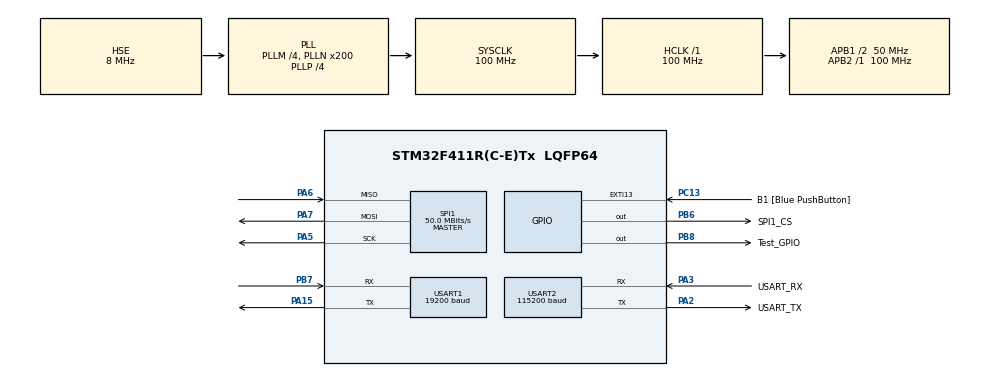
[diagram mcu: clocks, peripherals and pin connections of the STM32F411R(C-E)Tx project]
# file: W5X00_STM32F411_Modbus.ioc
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Dma.Request0=SPI1_TX
Dma.Request1=SPI1_RX
Dma.SPI1_RX.1.Direction=DMA_PERIPH_TO_MEMORY
Dma.SPI1_RX.1.FIFOMode=DMA_FIFOMODE_DISABLE
Dma.SPI1_RX.1.Instance=DMA2_Stream0
Dma.SPI1_RX.1.MemDataAlignment=DMA_MDATAALIGN_BYTE
Dma.SPI1_RX.1.MemInc=DMA_MINC_ENABLE
Dma.SPI1_RX.1.Mode=DMA_NORMAL
Dma.SPI1_RX.1.PeriphDataAlignment=DMA_PDATAALIGN_BYTE
Dma.SPI1_RX.1.PeriphInc=DMA_PINC_DISABLE
Dma.SPI1_RX.1.Priority=DMA_PRIORITY_HIGH
Dma.SPI1_TX.0.Direction=DMA_MEMORY_TO_PERIPH
Dma.SPI1_TX.0.FIFOMode=DMA_FIFOMODE_DISABLE
Dma.SPI1_TX.0.Instance=DMA2_Stream2
Dma.SPI1_TX.0.MemDataAlignment=DMA_MDATAALIGN_BYTE
Dma.SPI1_TX.0.MemInc=DMA_MINC_ENABLE
Dma.SPI1_TX.0.Mode=DMA_NORMAL
Dma.SPI1_TX.0.PeriphDataAlignment=DMA_PDATAALIGN_BYTE
Dma.SPI1_TX.0.PeriphInc=DMA_PINC_DISABLE
Dma.SPI1_TX.0.Priority=DMA_PRIORITY_HIGH
Mcu.Family=STM32F4
Mcu.Name=STM32F411R(C-E)Tx
Mcu.Package=LQFP64
NVIC.DMA2_Stream0_IRQn=true\:0\:0\:false\:false\:true\:false\:true\:true
NVIC.DMA2_Stream2_IRQn=true\:0\:0\:false\:false\:true\:false\:true\:true
NVIC.PriorityGroup=NVIC_PRIORITYGROUP_0
NVIC.SPI1_IRQn=true\:0\:0\:true\:false\:true\:true\:true\:true
NVIC.TIM3_IRQn=true\:0\:0\:false\:false\:true\:true\:true\:true
NVIC.USART1_IRQn=true\:0\:0\:false\:false\:true\:true\:true\:true
PA13.GPIO_Label=TMS
PA13.Mode=Serial_Wire
PA13.Signal=SYS_JTMS-SWDIO
PA14.GPIO_Label=TCK
PA14.Mode=Serial_Wire
PA14.Signal=SYS_JTCK-SWCLK
PA15.Mode=Asynchronous
PA15.Signal=USART1_TX
PA2.GPIO_Label=USART_TX
PA2.Mode=Asynchronous
PA2.Signal=USART2_TX
PA3.GPIO_Label=USART_RX
PA3.Mode=Asynchronous
PA3.Signal=USART2_RX
PA5.Mode=Full_Duplex_Master
PA5.Signal=SPI1_SCK
PA6.Mode=Full_Duplex_Master
PA6.Signal=SPI1_MISO
PA7.Mode=Full_Duplex_Master
PA7.Signal=SPI1_MOSI
PB3.GPIO_Label=SWO
PB3.Signal=SYS_JTDO-SWO
PB6.GPIO_Label=SPI1_CS
PB6.Signal=GPIO_Output
PB7.Mode=Asynchronous
PB7.Signal=USART1_RX
PB8.GPIO_Label=Test_GPIO
PB8.Signal=GPIO_Output
PC13-ANTI_TAMP.GPIO_Label=B1 [Blue PushButton]
PC13-ANTI_TAMP.GPIO_ModeDefaultEXTI=GPIO_MODE_IT_FALLING
PC13-ANTI_TAMP.Signal=GPXTI13
PC14-OSC32_IN.Mode=LSE-External-Oscillator
PC14-OSC32_IN.Signal=RCC_OSC32_IN
PC15-OSC32_OUT.Mode=LSE-External-Oscillator
PC15-OSC32_OUT.Signal=RCC_OSC32_OUT
PH0\ -\ OSC_IN.Mode=HSE-External-Clock-Source
PH0\ -\ OSC_IN.Signal=RCC_OSC_IN
PH1\ -\ OSC_OUT.Mode=HSE-External-Clock-Source
PH1\ -\ OSC_OUT.Signal=RCC_OSC_OUT
ProjectManager.HeapSize=0x200
ProjectManager.StackSize=0x400
ProjectManager.TargetToolchain=MDK-ARM V5.32
RCC.48MHZClocksFreq_Value=100000000
RCC.AHBFreq_Value=100000000
RCC.APB1CLKDivider=RCC_HCLK_DIV2
RCC.APB1Freq_Value=50000000
RCC.APB1TimFreq_Value=100000000
RCC.APB2Freq_Value=100000000
RCC.APB2TimFreq_Value=100000000
RCC.CortexFreq_Value=100000000
RCC.FLatency-AdvancedSettings=FLASH_LATENCY_3
RCC.HCLKFreq_Value=100000000
RCC.HSE_VALUE=8000000
RCC.HSI_VALUE=16000000
RCC.PLLM=4
RCC.PLLN=200
RCC.PLLP=RCC_PLLP_DIV4
RCC.PLLSourceVirtual=RCC_PLLSOURCE_HSE
RCC.SYSCLKFreq_VALUE=100000000
RCC.SYSCLKSource=RCC_SYSCLKSOURCE_PLLCLK
RCC.VCOOutputFreq_Value=400000000
SPI1.BaudRatePrescaler=SPI_BAUDRATEPRESCALER_2
SPI1.CLKPhase=SPI_PHASE_1EDGE
SPI1.CLKPolarity=SPI_POLARITY_LOW
SPI1.CalculateBaudRate=50.0 MBits/s
SPI1.Direction=SPI_DIRECTION_2LINES
SPI1.Mode=SPI_MODE_MASTER
SPI1.VirtualType=VM_MASTER
TIM3.AutoReloadPreload=TIM_AUTORELOAD_PRELOAD_DISABLE
TIM3.Period=49
TIM3.Prescaler=99
USART1.BaudRate=19200
USART1.VirtualMode=VM_ASYNC
USART2.BaudRate=115200
USART2.VirtualMode=VM_ASYNC
VP_TIM3_VS_ClockSourceINT.Mode=Internal
board=NUCLEO-F411RE

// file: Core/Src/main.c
/* USER CODE BEGIN Header */
/**
  ******************************************************************************
  * @file           : main.c
  * @brief          : Main program body
  ******************************************************************************
  * @attention
  *
  * Copyright (c) 2023 STMicroelectronics.
  * All rights reserved.
  *
  * This software is licensed under terms that can be found in the LICENSE file
  * in the root directory of this software component.
  * If no LICENSE file comes with this software, it is provided AS-IS.
  *
  ******************************************************************************
  */
/* USER CODE END Header */
#include "main.h"

/* USER CODE BEGIN Includes */
#include <stdio.h>
#include <stdarg.h>
#include "wizchip_conf.h"
#include "w5x00_spi.h"
#include "socket.h"
#include "port_common.h"

#include "mb.h"
#include "mbrtu.h"
#include "mbascii.h"
/* USER CODE END Includes */

/* USER CODE BEGIN PD */
#define PUTCHAR_PROTOTYPE int fputc(int ch, FILE *f)

#define SOCKET_MODBUS 0
#define PORT_MODBUS 5000
#define ETHERNET_BUF_MAX_SIZE (1024 * 2)
/* USER CODE END PD */

SPI_HandleTypeDef hspi1;
DMA_HandleTypeDef hdma_spi1_tx;
DMA_HandleTypeDef hdma_spi1_rx;

TIM_HandleTypeDef htim3;

UART_HandleTypeDef huart1;
UART_HandleTypeDef huart2;

/* USER CODE BEGIN PV */
static wiz_NetInfo g_net_info =
{
    .mac = {0x00, 0x08, 0xDC, 0x12, 0x34, 0x56}, // MAC address
    .ip = {192, 168, 2, 102},                     // IP address
    .sn = {255, 255, 255, 0},                    // Subnet Mask
    .gw = {192, 168, 2, 1},                     // Gateway
    .dns = {8, 8, 8, 8},                         // DNS server
    .dhcp = NETINFO_STATIC                       // DHCP enable/disable
};

static uint8_t g_loopback_buf[ETHERNET_BUF_MAX_SIZE] = {
    0,
};

uint8_t uartRxByte;
extern volatile uint8_t mb_state_rtu_finish;

/* USER CODE END PV */

void SystemClock_Config(void);
static void MX_GPIO_Init(void);
static void MX_DMA_Init(void);
static void MX_SPI1_Init(void);
static void MX_USART2_UART_Init(void);
static void MX_TIM3_Init(void);
static void MX_USART1_UART_Init(void);

int main(void)
{
  /* USER CODE BEGIN 1 */
  int retval = 0;
  uint16_t reg_val;
  uint8_t test_data;
  uint8_t state;
  uint8_t destip[4];
  uint16_t destport;
  /* USER CODE END 1 */

  /* MCU Configuration--------------------------------------------------------*/

  /* Reset of all peripherals, Initializes the Flash interface and the Systick. */
  HAL_Init();

  /* Configure the system clock */
  SystemClock_Config();

  /* Initialize all configured peripherals */
  MX_GPIO_Init();
  MX_DMA_Init();
  MX_SPI1_Init();
  MX_USART2_UART_Init();
  MX_TIM3_Init();
  MX_USART1_UART_Init();
  /* USER CODE BEGIN 2 */
  HAL_Delay(500);
  printf("Modbus Test\r\n");

	wizchip_spi_initialize();
	//wizchip_cris_initialize();
	wizchip_reset();
	wizchip_initialize();
	wizchip_check();

  network_initialize(g_net_info);
  print_network_information(g_net_info);

  eMBRTUInit(huart1.Init.BaudRate);
  HAL_UART_Receive_IT(&huart1, &uartRxByte, 1);

  /* USER CODE END 2 */

  /* Infinite loop */
  while (1)
  {

    /* USER CODE BEGIN 3 */
    state = getSn_SR(SOCKET_MODBUS);
    switch(state)
    {
        case SOCK_INIT:
            listen(SOCKET_MODBUS);
            break;

        case SOCK_LISTEN:
            break;

        case SOCK_ESTABLISHED:
            if(getSn_IR(SOCKET_MODBUS) & Sn_IR_CON)
            {
                reg_val = SIK_CONNECTED & 0x00FF;
                ctlsocket(SOCKET_MODBUS, CS_CLR_INTERRUPT, (void *)&reg_val);
                getsockopt(SOCKET_MODBUS, SO_DESTIP, &destip);
                getsockopt(SOCKET_MODBUS, SO_DESTPORT, &destport);
                printf("CONNECTED FROM - %d.%d.%d.%d : %d\r\n",destip[0], destip[1], destip[2], destip[3], destport);
            }

#if (MODBUS_PROTOCOL == MODBUS_RTU)

            RTU_Uart_RX();
            if(mb_state_rtu_finish == TRUE){
                mb_state_rtu_finish = FALSE;
                mbRTUtoTCP(SOCKET_MODBUS);
            }
            if(getSn_RX_RSR(SOCKET_MODBUS))
                mbTCPtoRTU(SOCKET_MODBUS);
#else
            ASCII_Uart_RX();
            if(mb_state_ascii_finish == TRUE) {
                mb_state_ascii_finish = FALSE;
                mbASCIItoTCP(SOCKET_MODBUS);
            }
            if(getSn_RX_RSR(SOCKET_MODBUS))
                mbTCPtoASCII(SOCKET_MODBUS);
#endif
            break;

        case SOCK_CLOSE_WAIT:
            disconnect(SOCKET_MODBUS);
            break;

        case SOCK_FIN_WAIT:
        case SOCK_CLOSED:
            close(SOCKET_MODBUS);
            if(socket(SOCKET_MODBUS, Sn_MR_TCP, PORT_MODBUS, (SF_TCP_NODELAY | SF_IO_NONBLOCK)) == SOCKET_MODBUS)
            {
                // TCP Server listen
                listen(SOCKET_MODBUS);
                printf("TCP_SERVER_MODE:SOCKOPEN\r\n");
            }
            break;

        default:
            break;
    }
  }
  /* USER CODE END 3 */
}

void SystemClock_Config(void)
{
  RCC_OscInitTypeDef RCC_OscInitStruct = {0};
  RCC_ClkInitTypeDef RCC_ClkInitStruct = {0};

  /** Configure the main internal regulator output voltage
  */
  __HAL_RCC_PWR_CLK_ENABLE();
  __HAL_PWR_VOLTAGESCALING_CONFIG(PWR_REGULATOR_VOLTAGE_SCALE1);

  /** Initializes the RCC Oscillators according to the specified parameters
  * in the RCC_OscInitTypeDef structure.
  */
  RCC_OscInitStruct.OscillatorType = RCC_OSCILLATORTYPE_HSE;
  RCC_OscInitStruct.HSEState = RCC_HSE_BYPASS;
  RCC_OscInitStruct.PLL.PLLState = RCC_PLL_ON;
  RCC_OscInitStruct.PLL.PLLSource = RCC_PLLSOURCE_HSE;
  RCC_OscInitStruct.PLL.PLLM = 4;
  RCC_OscInitStruct.PLL.PLLN = 200;
  RCC_OscInitStruct.PLL.PLLP = RCC_PLLP_DIV4;
  RCC_OscInitStruct.PLL.PLLQ = 4;
  if (HAL_RCC_OscConfig(&RCC_OscInitStruct) != HAL_OK)
  {
    Error_Handler();
  }

  /** Initializes the CPU, AHB and APB buses clocks
  */
  RCC_ClkInitStruct.ClockType = RCC_CLOCKTYPE_HCLK|RCC_CLOCKTYPE_SYSCLK
                              |RCC_CLOCKTYPE_PCLK1|RCC_CLOCKTYPE_PCLK2;
  RCC_ClkInitStruct.SYSCLKSource = RCC_SYSCLKSOURCE_PLLCLK;
  RCC_ClkInitStruct.AHBCLKDivider = RCC_SYSCLK_DIV1;
  RCC_ClkInitStruct.APB1CLKDivider = RCC_HCLK_DIV2;
  RCC_ClkInitStruct.APB2CLKDivider = RCC_HCLK_DIV1;

  if (HAL_RCC_ClockConfig(&RCC_ClkInitStruct, FLASH_LATENCY_3) != HAL_OK)
  {
    Error_Handler();
  }
}

static void MX_SPI1_Init(void)
{

  /* SPI1 parameter configuration*/
  hspi1.Instance = SPI1;
  hspi1.Init.Mode = SPI_MODE_MASTER;
  hspi1.Init.Direction = SPI_DIRECTION_2LINES;
  hspi1.Init.DataSize = SPI_DATASIZE_8BIT;
  hspi1.Init.CLKPolarity = SPI_POLARITY_LOW;
  hspi1.Init.CLKPhase = SPI_PHASE_1EDGE;
  hspi1.Init.NSS = SPI_NSS_SOFT;
  hspi1.Init.BaudRatePrescaler = SPI_BAUDRATEPRESCALER_2;
  hspi1.Init.FirstBit = SPI_FIRSTBIT_MSB;
  hspi1.Init.TIMode = SPI_TIMODE_DISABLE;
  hspi1.Init.CRCCalculation = SPI_CRCCALCULATION_DISABLE;
  hspi1.Init.CRCPolynomial = 10;
  if (HAL_SPI_Init(&hspi1) != HAL_OK)
  {
    Error_Handler();
  }

}

static void MX_TIM3_Init(void)
{

  TIM_ClockConfigTypeDef sClockSourceConfig = {0};
  TIM_MasterConfigTypeDef sMasterConfig = {0};

  htim3.Instance = TIM3;
  htim3.Init.Prescaler = 99;
  htim3.Init.CounterMode = TIM_COUNTERMODE_UP;
  htim3.Init.Period = 49;
  htim3.Init.ClockDivision = TIM_CLOCKDIVISION_DIV1;
  htim3.Init.AutoReloadPreload = TIM_AUTORELOAD_PRELOAD_DISABLE;
  if (HAL_TIM_Base_Init(&htim3) != HAL_OK)
  {
    Error_Handler();
  }
  sClockSourceConfig.ClockSource = TIM_CLOCKSOURCE_INTERNAL;
  if (HAL_TIM_ConfigClockSource(&htim3, &sClockSourceConfig) != HAL_OK)
  {
    Error_Handler();
  }
  sMasterConfig.MasterOutputTrigger = TIM_TRGO_RESET;
  sMasterConfig.MasterSlaveMode = TIM_MASTERSLAVEMODE_DISABLE;
  if (HAL_TIMEx_MasterConfigSynchronization(&htim3, &sMasterConfig) != HAL_OK)
  {
    Error_Handler();
  }

}

static void MX_USART1_UART_Init(void)
{

  huart1.Instance = USART1;
  huart1.Init.BaudRate = 19200;
  huart1.Init.WordLength = UART_WORDLENGTH_8B;
  huart1.Init.StopBits = UART_STOPBITS_1;
  huart1.Init.Parity = UART_PARITY_NONE;
  huart1.Init.Mode = UART_MODE_TX_RX;
  huart1.Init.HwFlowCtl = UART_HWCONTROL_NONE;
  huart1.Init.OverSampling = UART_OVERSAMPLING_16;
  if (HAL_UART_Init(&huart1) != HAL_OK)
  {
    Error_Handler();
  }

}

static void MX_USART2_UART_Init(void)
{

  huart2.Instance = USART2;
  huart2.Init.BaudRate = 115200;
  huart2.Init.WordLength = UART_WORDLENGTH_8B;
  huart2.Init.StopBits = UART_STOPBITS_1;
  huart2.Init.Parity = UART_PARITY_NONE;
  huart2.Init.Mode = UART_MODE_TX_RX;
  huart2.Init.HwFlowCtl = UART_HWCONTROL_NONE;
  huart2.Init.OverSampling = UART_OVERSAMPLING_16;
  if (HAL_UART_Init(&huart2) != HAL_OK)
  {
    Error_Handler();
  }

}

static void MX_DMA_Init(void)
{

  /* DMA controller clock enable */
  __HAL_RCC_DMA2_CLK_ENABLE();

  /* DMA interrupt init */
  /* DMA2_Stream0_IRQn interrupt configuration */
  HAL_NVIC_SetPriority(DMA2_Stream0_IRQn, 0, 0);
  HAL_NVIC_EnableIRQ(DMA2_Stream0_IRQn);
  /* DMA2_Stream2_IRQn interrupt configuration */
  HAL_NVIC_SetPriority(DMA2_Stream2_IRQn, 0, 0);
  HAL_NVIC_EnableIRQ(DMA2_Stream2_IRQn);

}

static void MX_GPIO_Init(void)
{
  GPIO_InitTypeDef GPIO_InitStruct = {0};

  /* GPIO Ports Clock Enable */
  __HAL_RCC_GPIOC_CLK_ENABLE();
  __HAL_RCC_GPIOH_CLK_ENABLE();
  __HAL_RCC_GPIOA_CLK_ENABLE();
  __HAL_RCC_GPIOB_CLK_ENABLE();

  /*Configure GPIO pin Output Level */
  HAL_GPIO_WritePin(GPIOB, SPI1_CS_Pin|Test_GPIO_Pin, GPIO_PIN_RESET);

  /*Configure GPIO pin : B1_Pin */
  GPIO_InitStruct.Pin = B1_Pin;
  GPIO_InitStruct.Mode = GPIO_MODE_IT_FALLING;
  GPIO_InitStruct.Pull = GPIO_NOPULL;
  HAL_GPIO_Init(B1_GPIO_Port, &GPIO_InitStruct);

  /*Configure GPIO pins : SPI1_CS_Pin Test_GPIO_Pin */
  GPIO_InitStruct.Pin = SPI1_CS_Pin|Test_GPIO_Pin;
  GPIO_InitStruct.Mode = GPIO_MODE_OUTPUT_PP;
  GPIO_InitStruct.Pull = GPIO_NOPULL;
  GPIO_InitStruct.Speed = GPIO_SPEED_FREQ_LOW;
  HAL_GPIO_Init(GPIOB, &GPIO_InitStruct);

}

/* USER CODE BEGIN 4 */

PUTCHAR_PROTOTYPE
{
    /* Implement your write code here, this is used by puts and printf for example */

    /* Place your implementation of fputc here */
    /* e.g. write a character to the USART */

    uint8_t c[1];
    c[0] = ch & 0x00FF;
    HAL_UART_Transmit(&huart2, &c[0], 1, 10);
    return ch;
}

/* USER CODE END 4 */

void Error_Handler(void)
{
  __disable_irq();
  while (1)
  {
  }
}
